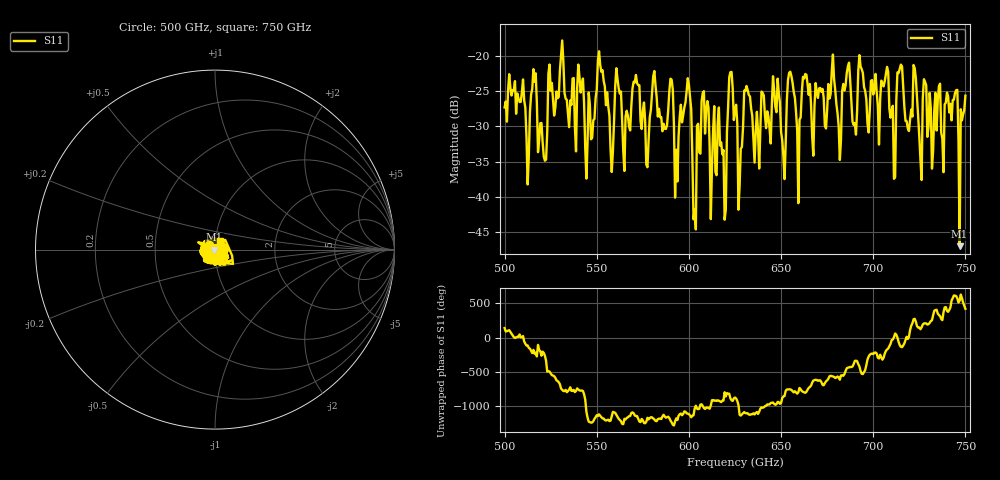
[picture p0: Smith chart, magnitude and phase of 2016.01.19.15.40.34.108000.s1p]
!Created with skrf (http://scikit-rf.org).
# GHz S RI R 50.0
!freq ReS11 ImS11
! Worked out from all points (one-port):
!   401 points, 500 GHz to 750 GHz, reference 50 ohm
!   lowest |S11| = -47.0 dB at 746.9 GHz (marker M1), VSWR 1.01, Z = 49.6 + j0.00953 ohm
!   |S11| at or under -10 dB: start of sweep to end of sweep
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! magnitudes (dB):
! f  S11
! 500 GHz  -27.3
! 512.5 GHz  -38.2
! 515.6 GHz  -21.9
! 521.9 GHz  -34.9
! 531.2 GHz  -17.8
! 544.4 GHz  -37.4
! 551.9 GHz  -21.3
! 558.1 GHz  -36.5
! 562.5 GHz  -25.4
! 590 GHz  -23.3
! 593.8 GHz  -37.8
! 599.4 GHz  -23.2
! 603.1 GHz  -41.8
! 608.1 GHz  -25.0
! 618.8 GHz  -33.4
! 622.5 GHz  -22.3
! 625 GHz  -27.7
! 628.1 GHz  -33.2
! 631.2 GHz  -24.3
! 646.9 GHz  -27.2
! 651.2 GHz  -34.2
! 656.2 GHz  -23.9
! 659.4 GHz  -40.9
! 663.1 GHz  -22.6
! 687.5 GHz  -23.5
! 718.8 GHz  -30.3
! 746.9 GHz  -47.0
! 750 GHz  -25.7
